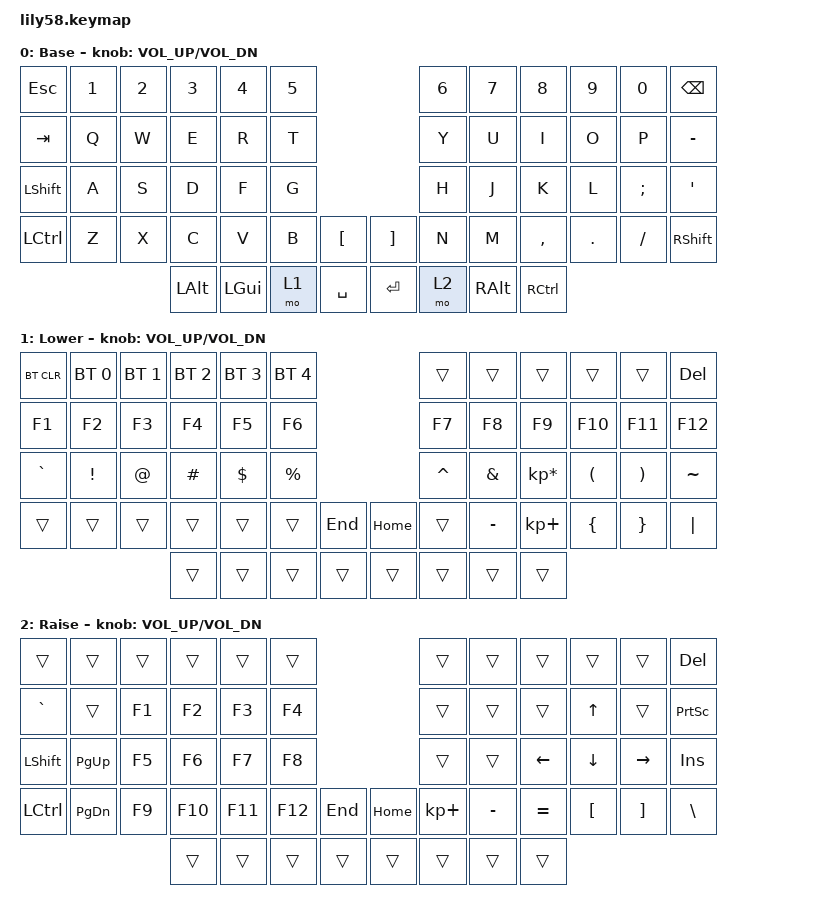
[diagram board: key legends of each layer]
/*
 * Copyright (c) 2020 The ZMK Contributors
 *
 * SPDX-License-Identifier: MIT
 */

#include <behaviors.dtsi>
#include <dt-bindings/zmk/bt.h>
#include <dt-bindings/zmk/keys.h>

/ {
    keymap {
        compatible = "zmk,keymap";

        default_layer {
            // ------------------------------------------------------------------------------------------------------------
            // |  ESC  |  1  |  2  |  3   |  4   |  5   |                   |  6   |  7    |  8    |  9   |   0   | BSPC |
            // |  TAB  |  Q  |  W  |  E   |  R   |  T   |                   |  Y   |  U    |  I    |  O   |   P   |   -   |
            // | SHIFT |  A  |  S  |  D   |  F   |  G   |                   |  H   |  J    |  K    |  L   |   ;   |   '   |
            // | CTRL  |  Z  |  X  |  C   |  V   |  B   |   [             ] |  N   |  M    |  ,    |  .   |   /   | SHIFT |
            //                     | ALT  | GUI  | LOWER| SPACE       ENTER | RAISE| ALT  | CTRL  |

            display-name = "Base";
            bindings = <
&kp ESC    &kp N1  &kp N2  &kp N3    &kp N4    &kp N5                         &kp N6  &kp N7    &kp N8     &kp N9   &kp N0    &kp BSPC
&kp TAB    &kp Q   &kp W   &kp E     &kp R     &kp T                          &kp Y   &kp U     &kp I      &kp O    &kp P     &kp MINUS
&kp LSHFT  &kp A   &kp S   &kp D     &kp F     &kp G                          &kp H   &kp J     &kp K      &kp L    &kp SEMI  &kp SQT
&kp LCTRL  &kp Z   &kp X   &kp C     &kp V     &kp B   &kp LBKT     &kp RBKT  &kp N   &kp M     &kp COMMA  &kp DOT  &kp FSLH  &kp RSHFT
                           &kp LALT  &kp LGUI  &mo 1   &kp SPACE    &kp RET   &mo 2   &kp RALT  &kp RCTRL
            >;

            // GRAVE

            sensor-bindings = <&inc_dec_kp C_VOL_UP C_VOL_DN>;
        };

        lower_layer {
            // ------------------------------------------------------------------------------------------------------------
            // | BTCLR | BT0 | BT1 | BT2  | BT3  | BT4  |                   |      |       |       |      |       |  DEL  |
            // |  F1   |  F2 |  F3 |  F4  |  F5  |  F6  |                   |  F7  |  F8   |  F9   | F10  |  F11  |  F12  |
            // |   `   |  !  |  @  |  #   |  $   |  %   |                   |  ^   |  &    |  *    |  (   |   )   |   ~   |
            // |       |     |     |      |      |      |        |          |      |  -    |  +    |  [   |   ]   |   |   |
            //                     |      |      |      |        |          |      |       |       |

            display-name = "Lower";
            bindings = <
&bt BT_CLR  &bt BT_SEL 0  &bt BT_SEL 1  &bt BT_SEL 2  &bt BT_SEL 3  &bt BT_SEL 4                       &trans     &trans     &trans           &trans    &trans    &kp DEL
&kp F1      &kp F2        &kp F3        &kp F4        &kp F5        &kp F6                             &kp F7     &kp F8     &kp F9           &kp F10   &kp F11   &kp F12
&kp GRAVE   &kp EXCL      &kp AT        &kp HASH      &kp DOLLAR    &kp PRCNT                          &kp CARET  &kp AMPS   &kp KP_MULTIPLY  &kp LPAR  &kp RPAR  &kp TILDE
&trans      &trans        &trans        &trans        &trans        &trans        &kp END    &kp HOME  &trans     &kp MINUS  &kp KP_PLUS      &kp LBRC  &kp RBRC  &kp PIPE
                                        &trans        &trans        &trans        &trans     &trans    &trans     &trans     &trans
            >;

            sensor-bindings = <&inc_dec_kp C_VOL_UP C_VOL_DN>;
        };

        raise_layer {
            // ------------------------------------------------------------------------------------------------------------
            // |       |     |     |      |      |      |                   |      |       |       |      |       |  DEL  |
            // |   `   |  1  |  2  |  3   |  4   |  5   |                   |  6   |  7    |  8    |  9   |   0   |       |
            // |  F1   |  F2 |  F3 |  F4  |  F5  |  F6  |                   |      |  ←    |  ↓    |  ↑   |   →   |       |
            // |  F7   |  F8 |  F9 |  F10 |  F11 |  F12 |        |          |  +   |  -    |  =    |  [   |   ]   |   \   |
            //                     |      |      |      |        |          |      |       |       |

            display-name = "Raise";
            bindings = <
&trans            &trans         &trans  &trans   &trans   &trans                        &trans       &trans     &trans     &trans        &trans     &kp DEL
&kp GRAVE         &trans         &kp F1  &kp F2   &kp F3   &kp F4                        &trans       &trans     &trans     &kp UP_ARROW  &trans     &kp PSCRN
&kp LEFT_SHIFT    &kp PG_UP      &kp F5  &kp F6   &kp F7   &kp F8                        &trans       &trans     &kp LEFT   &kp DOWN      &kp RIGHT  &kp INS
&kp LEFT_CONTROL  &kp PAGE_DOWN  &kp F9  &kp F10  &kp F11  &kp F12  &kp END    &kp HOME  &kp KP_PLUS  &kp MINUS  &kp EQUAL  &kp LBKT      &kp RBKT   &kp BSLH
                                         &trans   &trans   &trans   &trans     &trans    &trans       &trans     &trans
            >;

            sensor-bindings = <&inc_dec_kp C_VOL_UP C_VOL_DN>;
        };

        extra_1 { status = "reserved"; };

        extra_2 { status = "reserved"; };

        extra_3 { status = "reserved"; };
    };
};
